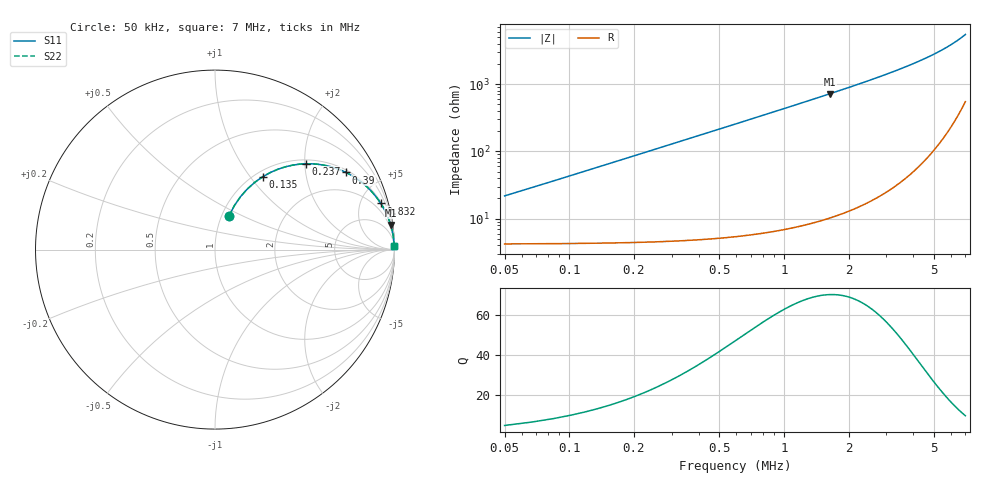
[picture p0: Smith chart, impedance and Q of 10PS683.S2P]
! Coilcraft 1008PS-683 Power Chip Inductor
! 7 October 2002
# MHZ S MA R 50
!Freq  MagS11  AngS11  MagS21  AngS21  MagS12  AngS12  MagS22  AngS22
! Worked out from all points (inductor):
!   410 points, 50 kHz to 7 MHz, reference 50 ohm
!   read as one part in series: L = 68 uH near 84 kHz
!   highest Q = 70.2 at 1.631 MHz (marker M1), where L = 69.7 uH
!   S11 on the Smith chart (normalised r, x): 50 kHz: 1.08, +0.43; 135 kHz: 1.09, +1.15; 237 kHz: 1.09, +2.03; 390 kHz: 1.10, +3.34; 832 kHz: 1.12, +7.16; 7 MHz: open
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0.05  0.2047 67.3  0.9401 -11.6  0.9401 -11.6  0.2047 67.3
0.084  0.3278 64.3  0.907 -19.0  0.907 -19.0  0.3278 64.3
0.101  0.3843 61.9  0.8862 -22.5  0.8862 -22.5  0.3843 61.9
0.135  0.4853 56.8  0.8389 -28.9  0.8389 -28.9  0.4853 56.8
0.186  0.6068 49.5  0.7621 -37.3  0.7621 -37.3  0.6068 49.5
0.237  0.6968 43.3  0.6871 -44.1  0.6871 -44.1  0.6968 43.3
0.305  0.7805 36.7  0.5981 -51.3  0.5981 -51.3  0.7805 36.7
0.39  0.8471 30.5  0.5075 -57.9  0.5075 -57.9  0.8471 30.5
0.475  0.8888 25.9  0.4369 -62.7  0.4369 -62.7  0.8888 25.9
0.577  0.9202 21.8  0.372 -66.9  0.372 -66.9  0.9202 21.8
0.696  0.9429 18.4  0.3156 -70.5  0.3156 -70.5  0.9429 18.4
0.832  0.9588 15.5  0.2679 -73.5  0.2679 -73.5  0.9588 15.5
1.019  0.9718 12.8  0.221 -76.3  0.221 -76.3  0.9718 12.8
1.223  0.98 10.7  0.1849 -78.5  0.1849 -78.5  0.98 10.7
1.631  0.9884 7.9  0.1383 -81.2  0.1383 -81.2  0.9884 7.9
1.988  0.992 6.5  0.1125 -82.7  0.1125 -82.7  0.992 6.5
2.379  0.9943 5.3  0.09265 -83.8  0.09265 -83.8  0.9943 5.3
2.906  0.996 4.2  0.0739 -84.8  0.0739 -84.8  0.996 4.2
3.535  0.9971 3.3  0.05833 -85.5  0.05833 -85.5  0.9971 3.3
4.691  0.9979 2.3  0.0396 -85.9  0.0396 -85.9  0.9979 2.3
5.847  0.9981 1.6  0.0273 -85.3  0.0273 -85.3  0.9981 1.6
7  0.998 1.0  0.01829 -83.2  0.01829 -83.2  0.998 1.0
